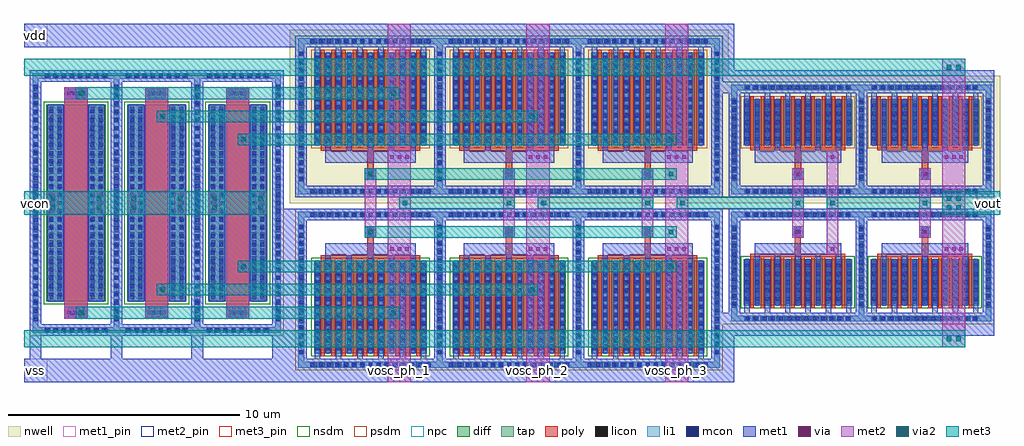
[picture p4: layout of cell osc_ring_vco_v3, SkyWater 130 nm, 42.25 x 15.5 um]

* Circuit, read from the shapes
.subckt osc_ring_vco_v3 vcon vdd vosc_ph_1 vosc_ph_2 vosc_ph_3 vout vss
XM1 vcon vosc_ph_1 vcon vss sky130_fd_pr__nfet_01v8 w=8.5 l=1
XM2 vcon vosc_ph_2 vcon vss sky130_fd_pr__nfet_01v8 w=8.5 l=1
XM3 vcon vosc_ph_3 vcon vss sky130_fd_pr__nfet_01v8 w=8.5 l=1
XM4 vosc_ph_1 vosc_ph_3 vss vss sky130_fd_pr__nfet_01v8 w=4 l=0.17 m=10
XM5 vosc_ph_2 vosc_ph_1 vss vss sky130_fd_pr__nfet_01v8 w=4 l=0.17 m=10
XM6 vosc_ph_3 vosc_ph_2 vss vss sky130_fd_pr__nfet_01v8 w=4 l=0.17 m=10
XM7 sky130_fd_pr__nfet_01v8_osc_ring_vco_v3_buf_2/D0 vosc_ph_3 vss vss sky130_fd_pr__nfet_01v8 w=2 l=0.15 m=10
XM8 vout sky130_fd_pr__nfet_01v8_osc_ring_vco_v3_buf_2/D0 vss vss sky130_fd_pr__nfet_01v8 w=2 l=0.15 m=10
XM9 vosc_ph_1 vosc_ph_3 vdd vdd sky130_fd_pr__pfet_01v8 w=4 l=0.17 m=10
XM10 vosc_ph_2 vosc_ph_1 vdd vdd sky130_fd_pr__pfet_01v8 w=4 l=0.17 m=10
XM11 vosc_ph_3 vosc_ph_2 vdd vdd sky130_fd_pr__pfet_01v8 w=4 l=0.17 m=10
XM12 sky130_fd_pr__nfet_01v8_osc_ring_vco_v3_buf_2/D0 vosc_ph_3 vdd vdd sky130_fd_pr__pfet_01v8 w=2 l=0.15 m=10
XM13 vout sky130_fd_pr__nfet_01v8_osc_ring_vco_v3_buf_2/D0 vdd vdd sky130_fd_pr__pfet_01v8 w=2 l=0.15 m=10
.ends

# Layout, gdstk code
import gdstk
lib = gdstk.Library(unit=1e-6, precision=1e-09)
def R(c, l, rs):  # rectangles x0, y0, x1, y1
    for r in rs: c.add(gdstk.rectangle(r[:2], r[2:], *l))
def A(c, l, x, y, w, h, nx, ny, dx, dy):  # array of equal rectangles
    R(c, l, [(x+i*dx, y+j*dy, x+i*dx+w, y+j*dy+h) for i in range(nx) for j in range(ny)])
nwell = (64, 20)
diff = (65, 20)
tap = (65, 44)
poly = (66, 20)
licon = (66, 44)
li1 = (67, 20)
mcon = (67, 44)
met1_pin = (68, 16)
met1 = (68, 20)
via = (68, 44)
met2_pin = (69, 16)
met2 = (69, 20)
via2 = (69, 44)
met3_pin = (70, 16)
met3 = (70, 20)
nsdm = (93, 44)
psdm = (94, 20)
npc = (95, 20)

sky130_fd_pr__nfet_01v8_ = lib.new_cell('sky130_fd_pr__nfet_01v8_osc_ring_vco_v3_buf')
R(sky130_fd_pr__nfet_01v8_, diff, [(-1.095,-3.175,3.595,-1.175)])
R(sky130_fd_pr__nfet_01v8_, tap, [(-1.625,-3.875,4.125,-3.625), (-1.625,-3.625,-1.375,0.625), (3.875,-3.625,4.125,0.625), (-1.625,0.625,4.125,0.875)])
A(sky130_fd_pr__nfet_01v8_, poly, -0.805, -3.305, 0.15, 2.205, 10, 1, 0.44, 0)
R(sky130_fd_pr__nfet_01v8_, poly, [(-0.805,-1.1,3.305,-0.95), (1.115,-0.95,1.385,0.25)])
A(sky130_fd_pr__nfet_01v8_, licon, -1.045, -3.835, 0.17, 0.17, 14, 2, 0.34, 4.5)
A(sky130_fd_pr__nfet_01v8_, licon, -1.585, -3.285, 0.17, 0.17, 1, 11, 0, 0.34)
A(sky130_fd_pr__nfet_01v8_, licon, 3.915, -3.285, 0.17, 0.17, 1, 11, 0, 0.34)
A(sky130_fd_pr__nfet_01v8_, licon, -1.035, -3.11, 0.17, 0.17, 11, 6, 0.44, 0.34)
R(sky130_fd_pr__nfet_01v8_, licon, [(1.165,-0.085,1.335,0.085)])
A(sky130_fd_pr__nfet_01v8_, li1, -1.035, -3.195, 0.17, 2.04, 11, 1, 0.44, 0)
R(sky130_fd_pr__nfet_01v8_, li1, [(-1.625,-3.875,4.125,-3.625), (-1.625,-3.625,-1.375,0.625), (3.875,-3.625,4.125,0.625), (1.165,-0.25,1.335,0.25), (-1.625,0.625,4.125,0.875)])
A(sky130_fd_pr__nfet_01v8_, mcon, -0.995, -3.835, 0.17, 0.17, 13, 2, 0.36, 4.5)
A(sky130_fd_pr__nfet_01v8_, mcon, -1.585, -3.205, 0.17, 0.17, 1, 10, 0, 0.36)
A(sky130_fd_pr__nfet_01v8_, mcon, 3.915, -3.205, 0.17, 0.17, 1, 10, 0, 0.36)
A(sky130_fd_pr__nfet_01v8_, mcon, -1.035, -2.98, 0.17, 0.17, 11, 5, 0.44, 0.36)
R(sky130_fd_pr__nfet_01v8_, mcon, [(1.165,-0.085,1.335,0.085)])
A(sky130_fd_pr__nfet_01v8_, met1, -1.065, -3.5, 0.23, 2.325, 6, 1, 0.88, 0)
A(sky130_fd_pr__nfet_01v8_, met1, -0.625, -3.175, 0.23, 2.175, 5, 1, 0.88, 0)
R(sky130_fd_pr__nfet_01v8_, met1, [(-1.75,-4,4.25,-3.5), (-1.75,-3.5,-1.25,0.5), (3.75,-3.5,4.25,0.5), (-0.625,-1,3.125,-0.5), (1,-0.25,1.5,0.25), (-1.75,0.5,4.25,1)])
R(sky130_fd_pr__nfet_01v8_, nsdm, [(-1.22,-3.3,3.72,-1.05)])
R(sky130_fd_pr__nfet_01v8_, psdm, [(-1.75,-4,4.25,-3.5), (-1.75,-3.5,-1.25,0.5), (3.75,-3.5,4.25,0.5), (-1.75,0.5,4.25,1)])
R(sky130_fd_pr__nfet_01v8_, npc, [(1.065,-0.185,1.435,0.185)])
sky130_fd_pr__nfet_01v8_.add(gdstk.Label('D0', (-0.51,-2.175), layer=67, texttype=5))
sky130_fd_pr__nfet_01v8_.add(gdstk.Label('S0', (-0.95,-2.175), layer=67, texttype=5))
sky130_fd_pr__nfet_01v8_.add(gdstk.Label('D1', (-0.51,-2.175), layer=67, texttype=5))
sky130_fd_pr__nfet_01v8_.add(gdstk.Label('S1', (-0.07,-2.175), layer=67, texttype=5))
sky130_fd_pr__nfet_01v8_.add(gdstk.Label('D2', (0.37,-2.175), layer=67, texttype=5))
sky130_fd_pr__nfet_01v8_.add(gdstk.Label('S2', (-0.07,-2.175), layer=67, texttype=5))
sky130_fd_pr__nfet_01v8_.add(gdstk.Label('D3', (0.37,-2.175), layer=67, texttype=5))
sky130_fd_pr__nfet_01v8_.add(gdstk.Label('S3', (0.81,-2.175), layer=67, texttype=5))
sky130_fd_pr__nfet_01v8_.add(gdstk.Label('D4', (1.25,-2.175), layer=67, texttype=5))
sky130_fd_pr__nfet_01v8_.add(gdstk.Label('S4', (0.81,-2.175), layer=67, texttype=5))
sky130_fd_pr__nfet_01v8_.add(gdstk.Label('D5', (1.25,-2.175), layer=67, texttype=5))
sky130_fd_pr__nfet_01v8_.add(gdstk.Label('S5', (1.69,-2.175), layer=67, texttype=5))
sky130_fd_pr__nfet_01v8_.add(gdstk.Label('D6', (2.13,-2.175), layer=67, texttype=5))
sky130_fd_pr__nfet_01v8_.add(gdstk.Label('S6', (1.69,-2.175), layer=67, texttype=5))
sky130_fd_pr__nfet_01v8_.add(gdstk.Label('D7', (2.13,-2.175), layer=67, texttype=5))
sky130_fd_pr__nfet_01v8_.add(gdstk.Label('S7', (2.57,-2.175), layer=67, texttype=5))
sky130_fd_pr__nfet_01v8_.add(gdstk.Label('D8', (3.01,-2.175), layer=67, texttype=5))
sky130_fd_pr__nfet_01v8_.add(gdstk.Label('S8', (2.57,-2.175), layer=67, texttype=5))
sky130_fd_pr__nfet_01v8_.add(gdstk.Label('D9', (3.01,-2.175), layer=67, texttype=5))
sky130_fd_pr__nfet_01v8_.add(gdstk.Label('S9', (3.45,-2.175), layer=67, texttype=5))

sky130_fd_pr__pfet_01v8_ = lib.new_cell('sky130_fd_pr__pfet_01v8_osc_ring_vco_v3_buf')
R(sky130_fd_pr__pfet_01v8_, nwell, [(-1.5,-1.75,5,3.75)])
R(sky130_fd_pr__pfet_01v8_, diff, [(-0.595,0.75,4.095,2.75)])
R(sky130_fd_pr__pfet_01v8_, tap, [(-1.125,-1.375,4.625,-1.125), (-1.125,-1.125,-0.875,3.125), (4.375,-1.125,4.625,3.125), (-1.125,3.125,4.625,3.375)])
A(sky130_fd_pr__pfet_01v8_, poly, -0.305, 0.675, 0.15, 2.205, 10, 1, 0.44, 0)
R(sky130_fd_pr__pfet_01v8_, poly, [(1.62,-0.75,1.89,0.525), (-0.305,0.525,3.805,0.675)])
A(sky130_fd_pr__pfet_01v8_, licon, -0.545, -1.335, 0.17, 0.17, 14, 2, 0.34, 4.5)
A(sky130_fd_pr__pfet_01v8_, licon, -1.085, -0.785, 0.17, 0.17, 1, 11, 0, 0.34)
A(sky130_fd_pr__pfet_01v8_, licon, 4.415, -0.785, 0.17, 0.17, 1, 11, 0, 0.34)
A(sky130_fd_pr__pfet_01v8_, licon, -0.535, 0.815, 0.17, 0.17, 11, 6, 0.44, 0.34)
R(sky130_fd_pr__pfet_01v8_, licon, [(1.67,-0.585,1.84,-0.415)])
A(sky130_fd_pr__pfet_01v8_, li1, -0.535, 0.73, 0.17, 2.04, 11, 1, 0.44, 0)
R(sky130_fd_pr__pfet_01v8_, li1, [(-1.125,-1.375,4.625,-1.125), (-1.125,-1.125,-0.875,3.125), (4.375,-1.125,4.625,3.125), (1.67,-0.75,1.84,-0.25), (-1.125,3.125,4.625,3.375)])
A(sky130_fd_pr__pfet_01v8_, mcon, -0.495, -1.335, 0.17, 0.17, 13, 2, 0.36, 4.5)
A(sky130_fd_pr__pfet_01v8_, mcon, -1.085, -0.705, 0.17, 0.17, 1, 10, 0, 0.36)
A(sky130_fd_pr__pfet_01v8_, mcon, 4.415, -0.705, 0.17, 0.17, 1, 10, 0, 0.36)
A(sky130_fd_pr__pfet_01v8_, mcon, -0.535, 0.945, 0.17, 0.17, 11, 5, 0.44, 0.36)
R(sky130_fd_pr__pfet_01v8_, mcon, [(1.67,-0.585,1.84,-0.415)])
A(sky130_fd_pr__pfet_01v8_, met1, -0.125, 0.5, 0.23, 2.25, 5, 1, 0.88, 0)
A(sky130_fd_pr__pfet_01v8_, met1, -0.565, 0.75, 0.23, 2.25, 6, 1, 0.88, 0)
R(sky130_fd_pr__pfet_01v8_, met1, [(-1.25,-1.5,4.75,-1), (-1.25,-1,-0.75,3), (4.25,-1,4.75,3), (1.5,-0.75,2,-0.25), (-0.125,0,3.625,0.5), (-1.25,3,4.75,3.5)])
R(sky130_fd_pr__pfet_01v8_, nsdm, [(-1.25,-1.5,4.75,-1), (-1.25,-1,-0.75,3), (4.25,-1,4.75,3), (-1.25,3,4.75,3.5)])
R(sky130_fd_pr__pfet_01v8_, psdm, [(-0.72,0.625,4.22,2.875)])
R(sky130_fd_pr__pfet_01v8_, npc, [(1.57,-0.685,1.94,-0.315)])
sky130_fd_pr__pfet_01v8_.add(gdstk.Label('D0', (-0.015,1.75), layer=67, texttype=5))
sky130_fd_pr__pfet_01v8_.add(gdstk.Label('S0', (-0.45,1.75), layer=67, texttype=5))
sky130_fd_pr__pfet_01v8_.add(gdstk.Label('D1', (-0.015,1.75), layer=67, texttype=5))
sky130_fd_pr__pfet_01v8_.add(gdstk.Label('S1', (0.43,1.75), layer=67, texttype=5))
sky130_fd_pr__pfet_01v8_.add(gdstk.Label('D2', (0.87,1.75), layer=67, texttype=5))
sky130_fd_pr__pfet_01v8_.add(gdstk.Label('S2', (0.43,1.75), layer=67, texttype=5))
sky130_fd_pr__pfet_01v8_.add(gdstk.Label('D3', (0.87,1.75), layer=67, texttype=5))
sky130_fd_pr__pfet_01v8_.add(gdstk.Label('S3', (1.31,1.75), layer=67, texttype=5))
sky130_fd_pr__pfet_01v8_.add(gdstk.Label('D4', (1.75,1.75), layer=67, texttype=5))
sky130_fd_pr__pfet_01v8_.add(gdstk.Label('S4', (1.31,1.75), layer=67, texttype=5))
sky130_fd_pr__pfet_01v8_.add(gdstk.Label('D5', (1.75,1.75), layer=67, texttype=5))
sky130_fd_pr__pfet_01v8_.add(gdstk.Label('S5', (2.19,1.75), layer=67, texttype=5))
sky130_fd_pr__pfet_01v8_.add(gdstk.Label('D6', (2.63,1.75), layer=67, texttype=5))
sky130_fd_pr__pfet_01v8_.add(gdstk.Label('S6', (2.19,1.75), layer=67, texttype=5))
sky130_fd_pr__pfet_01v8_.add(gdstk.Label('D7', (2.63,1.75), layer=67, texttype=5))
sky130_fd_pr__pfet_01v8_.add(gdstk.Label('S7', (3.07,1.75), layer=67, texttype=5))
sky130_fd_pr__pfet_01v8_.add(gdstk.Label('D8', (3.51,1.75), layer=67, texttype=5))
sky130_fd_pr__pfet_01v8_.add(gdstk.Label('S8', (3.07,1.75), layer=67, texttype=5))
sky130_fd_pr__pfet_01v8_.add(gdstk.Label('D9', (3.51,1.75), layer=67, texttype=5))
sky130_fd_pr__pfet_01v8_.add(gdstk.Label('S9', (3.95,1.75), layer=67, texttype=5))

c_sky130_fd_pr__nfet_01v8_ = lib.new_cell('sky130_fd_pr__nfet_01v8_osc_ring_vco_v2_varactor')
R(c_sky130_fd_pr__nfet_01v8_, diff, [(-1.26,-4.3,1.3,4.2)])
R(c_sky130_fd_pr__nfet_01v8_, tap, [(-1.855,-5.675,1.895,-5.425), (-1.855,-5.425,-1.605,5.325), (1.645,-5.425,1.895,5.325), (-1.855,5.325,1.895,5.575)])
R(c_sky130_fd_pr__nfet_01v8_, poly, [(-0.48,-5.05,0.52,4.95)])
A(c_sky130_fd_pr__nfet_01v8_, licon, -1.255, -5.635, 0.17, 0.17, 8, 2, 0.34, 11)
A(c_sky130_fd_pr__nfet_01v8_, licon, -1.815, -5.065, 0.17, 0.17, 1, 30, 0, 0.34)
A(c_sky130_fd_pr__nfet_01v8_, licon, 1.685, -5.065, 0.17, 0.17, 1, 30, 0, 0.34)
A(c_sky130_fd_pr__nfet_01v8_, licon, -1.125, -4.215, 0.17, 0.17, 1, 25, 0, 0.34)
A(c_sky130_fd_pr__nfet_01v8_, licon, -0.785, -4.215, 0.17, 0.17, 1, 25, 0, 0.34)
A(c_sky130_fd_pr__nfet_01v8_, licon, 0.655, -4.215, 0.17, 0.17, 1, 25, 0, 0.34)
A(c_sky130_fd_pr__nfet_01v8_, licon, 0.995, -4.215, 0.17, 0.17, 1, 25, 0, 0.34)
R(c_sky130_fd_pr__nfet_01v8_, licon, [(-0.235,-4.885,-0.065,-4.715), (0.105,-4.885,0.275,-4.715), (-0.235,4.615,-0.065,4.785), (0.105,4.615,0.275,4.785)])
R(c_sky130_fd_pr__nfet_01v8_, li1, [(-1.855,-5.675,1.895,-5.425), (-1.855,-5.425,-1.605,5.325), (1.645,-5.425,1.895,5.325), (-0.315,-5.05,0.355,-4.55), (-1.2,-4.32,-0.54,4.22), (0.58,-4.32,1.24,4.22), (-0.315,4.45,0.355,4.95), (-1.855,5.325,1.895,5.575)])
A(c_sky130_fd_pr__nfet_01v8_, mcon, -1.325, -5.635, 0.17, 0.17, 8, 2, 0.36, 11)
A(c_sky130_fd_pr__nfet_01v8_, mcon, -1.815, -5.175, 0.17, 0.17, 1, 29, 0, 0.36)
A(c_sky130_fd_pr__nfet_01v8_, mcon, 1.685, -5.175, 0.17, 0.17, 1, 29, 0, 0.36)
A(c_sky130_fd_pr__nfet_01v8_, mcon, -1.135, -4.095, 0.17, 0.17, 1, 23, 0, 0.36)
A(c_sky130_fd_pr__nfet_01v8_, mcon, -0.775, -4.095, 0.17, 0.17, 1, 23, 0, 0.36)
A(c_sky130_fd_pr__nfet_01v8_, mcon, 0.645, -4.095, 0.17, 0.17, 1, 23, 0, 0.36)
A(c_sky130_fd_pr__nfet_01v8_, mcon, 1.005, -4.095, 0.17, 0.17, 1, 23, 0, 0.36)
R(c_sky130_fd_pr__nfet_01v8_, mcon, [(-0.245,-4.885,-0.075,-4.715), (0.115,-4.885,0.285,-4.715), (-0.245,4.615,-0.075,4.785), (0.115,4.615,0.285,4.785)])
R(c_sky130_fd_pr__nfet_01v8_, met1, [(-1.98,-5.8,2.02,-5.3), (-1.98,-5.3,-1.48,5.2), (1.52,-5.3,2.02,5.2), (-0.48,-5.05,0.52,-4.55), (-1.23,-4.3,-0.51,4.2), (0.55,-4.3,1.27,4.2), (-0.48,4.45,0.52,4.95), (-1.98,5.2,2.02,5.7)])
R(c_sky130_fd_pr__nfet_01v8_, nsdm, [(-1.385,-4.425,1.425,4.325)])
R(c_sky130_fd_pr__nfet_01v8_, psdm, [(-1.98,-5.8,2.02,-5.3), (-1.98,-5.3,-1.48,5.2), (1.52,-5.3,2.02,5.2), (-1.98,5.2,2.02,5.7)])
R(c_sky130_fd_pr__nfet_01v8_, npc, [(-0.335,-4.985,0.375,-4.615), (-0.335,4.515,0.375,4.885)])
c_sky130_fd_pr__nfet_01v8_.add(gdstk.Label('D', (-0.625,-0.05), layer=67, texttype=5))
c_sky130_fd_pr__nfet_01v8_.add(gdstk.Label('S', (0.665,-0.05), layer=67, texttype=5))

c_sky130_fd_pr__nfet_01v8__ = lib.new_cell('sky130_fd_pr__nfet_01v8_osc_ring_vco_v2_inv')
R(c_sky130_fd_pr__nfet_01v8__, diff, [(-2.1,-26.455,2.79,-22.455)])
R(c_sky130_fd_pr__nfet_01v8__, tap, [(-2.78,-27.08,3.47,-26.83), (-2.78,-26.83,-2.53,-20.58), (3.22,-26.83,3.47,-20.58), (-2.78,-20.58,3.47,-20.33)])
A(c_sky130_fd_pr__nfet_01v8__, poly, -1.81, -26.585, 0.17, 4.205, 10, 1, 0.46, 0)
R(c_sky130_fd_pr__nfet_01v8__, poly, [(-1.81,-22.38,2.5,-22.21), (0.21,-22.21,0.48,-20.955)])
A(c_sky130_fd_pr__nfet_01v8__, licon, -2.12, -27.04, 0.17, 0.17, 15, 2, 0.34, 6.5)
A(c_sky130_fd_pr__nfet_01v8__, licon, -2.74, -26.51, 0.17, 0.17, 1, 17, 0, 0.34)
A(c_sky130_fd_pr__nfet_01v8__, licon, 3.26, -26.51, 0.17, 0.17, 1, 17, 0, 0.34)
A(c_sky130_fd_pr__nfet_01v8__, licon, -2.04, -26.24, 0.17, 0.17, 11, 11, 0.46, 0.34)
R(c_sky130_fd_pr__nfet_01v8__, licon, [(0.26,-21.29,0.43,-21.12)])
A(c_sky130_fd_pr__nfet_01v8__, li1, -2.04, -26.475, 0.17, 4.04, 11, 1, 0.46, 0)
R(c_sky130_fd_pr__nfet_01v8__, li1, [(-2.78,-27.08,3.47,-26.83), (-2.78,-26.83,-2.53,-20.58), (3.22,-26.83,3.47,-20.58), (0.26,-21.455,0.43,-20.955), (-2.78,-20.58,3.47,-20.33)])
A(c_sky130_fd_pr__nfet_01v8__, mcon, -2.26, -27.04, 0.17, 0.17, 15, 2, 0.36, 6.5)
A(c_sky130_fd_pr__nfet_01v8__, mcon, -2.74, -26.49, 0.17, 0.17, 1, 16, 0, 0.36)
A(c_sky130_fd_pr__nfet_01v8__, mcon, 3.26, -26.49, 0.17, 0.17, 1, 16, 0, 0.36)
A(c_sky130_fd_pr__nfet_01v8__, mcon, -2.04, -26.34, 0.17, 0.17, 11, 11, 0.46, 0.36)
R(c_sky130_fd_pr__nfet_01v8__, mcon, [(0.26,-21.29,0.43,-21.12)])
A(c_sky130_fd_pr__nfet_01v8__, met1, -2.07, -26.705, 0.23, 4.25, 6, 1, 0.92, 0)
A(c_sky130_fd_pr__nfet_01v8__, met1, -1.61, -26.455, 0.23, 4.25, 5, 1, 0.92, 0)
R(c_sky130_fd_pr__nfet_01v8__, met1, [(-2.905,-27.205,3.595,-26.705), (-2.905,-26.705,-2.405,-20.705), (3.095,-26.705,3.595,-20.705), (-1.61,-22.205,2.3,-21.705), (0.095,-21.455,0.595,-20.955), (-2.905,-20.705,3.595,-20.205)])
R(c_sky130_fd_pr__nfet_01v8__, nsdm, [(-2.225,-26.58,2.915,-22.33)])
R(c_sky130_fd_pr__nfet_01v8__, psdm, [(-2.905,-27.205,3.595,-26.705), (-2.905,-26.705,-2.405,-20.705), (3.095,-26.705,3.595,-20.705), (-2.905,-20.705,3.595,-20.205)])
R(c_sky130_fd_pr__nfet_01v8__, npc, [(0.16,-21.39,0.53,-21.02)])
c_sky130_fd_pr__nfet_01v8__.add(gdstk.Label('D0', (-1.495,-24.455), layer=67, texttype=5))
c_sky130_fd_pr__nfet_01v8__.add(gdstk.Label('S0', (-1.955,-24.455), layer=67, texttype=5))
c_sky130_fd_pr__nfet_01v8__.add(gdstk.Label('D1', (-1.495,-24.455), layer=67, texttype=5))
c_sky130_fd_pr__nfet_01v8__.add(gdstk.Label('S1', (-1.035,-24.455), layer=67, texttype=5))
c_sky130_fd_pr__nfet_01v8__.add(gdstk.Label('D2', (-0.575,-24.455), layer=67, texttype=5))
c_sky130_fd_pr__nfet_01v8__.add(gdstk.Label('S2', (-1.035,-24.455), layer=67, texttype=5))
c_sky130_fd_pr__nfet_01v8__.add(gdstk.Label('D3', (-0.575,-24.455), layer=67, texttype=5))
c_sky130_fd_pr__nfet_01v8__.add(gdstk.Label('S3', (-0.115,-24.455), layer=67, texttype=5))
c_sky130_fd_pr__nfet_01v8__.add(gdstk.Label('D4', (0.345,-24.455), layer=67, texttype=5))
c_sky130_fd_pr__nfet_01v8__.add(gdstk.Label('S4', (-0.115,-24.455), layer=67, texttype=5))
c_sky130_fd_pr__nfet_01v8__.add(gdstk.Label('D5', (0.345,-24.455), layer=67, texttype=5))
c_sky130_fd_pr__nfet_01v8__.add(gdstk.Label('S5', (0.805,-24.455), layer=67, texttype=5))
c_sky130_fd_pr__nfet_01v8__.add(gdstk.Label('D6', (1.265,-24.455), layer=67, texttype=5))
c_sky130_fd_pr__nfet_01v8__.add(gdstk.Label('S6', (0.805,-24.455), layer=67, texttype=5))
c_sky130_fd_pr__nfet_01v8__.add(gdstk.Label('D7', (1.265,-24.455), layer=67, texttype=5))
c_sky130_fd_pr__nfet_01v8__.add(gdstk.Label('S7', (1.725,-24.455), layer=67, texttype=5))
c_sky130_fd_pr__nfet_01v8__.add(gdstk.Label('D8', (2.185,-24.455), layer=67, texttype=5))
c_sky130_fd_pr__nfet_01v8__.add(gdstk.Label('S8', (1.725,-24.455), layer=67, texttype=5))
c_sky130_fd_pr__nfet_01v8__.add(gdstk.Label('D9', (2.185,-24.455), layer=67, texttype=5))
c_sky130_fd_pr__nfet_01v8__.add(gdstk.Label('S9', (2.645,-24.455), layer=67, texttype=5))

c_sky130_fd_pr__pfet_01v8_ = lib.new_cell('sky130_fd_pr__pfet_01v8_osc_ring_vco_v2_inv')
R(c_sky130_fd_pr__pfet_01v8_, nwell, [(-1.46,-27.805,5.54,-20.305)])
R(c_sky130_fd_pr__pfet_01v8_, diff, [(-0.405,-25.305,4.485,-21.305)])
R(c_sky130_fd_pr__pfet_01v8_, tap, [(-1.085,-27.43,5.165,-27.18), (-1.085,-27.18,-0.835,-20.93), (4.915,-27.18,5.165,-20.93), (-1.085,-20.93,5.165,-20.68)])
A(c_sky130_fd_pr__pfet_01v8_, poly, -0.115, -25.38, 0.17, 4.205, 10, 1, 0.46, 0)
R(c_sky130_fd_pr__pfet_01v8_, poly, [(1.905,-26.805,2.175,-25.55), (-0.115,-25.55,4.195,-25.38)])
A(c_sky130_fd_pr__pfet_01v8_, licon, -0.425, -27.39, 0.17, 0.17, 15, 2, 0.34, 6.5)
A(c_sky130_fd_pr__pfet_01v8_, licon, -1.045, -26.86, 0.17, 0.17, 1, 17, 0, 0.34)
A(c_sky130_fd_pr__pfet_01v8_, licon, 4.955, -26.86, 0.17, 0.17, 1, 17, 0, 0.34)
A(c_sky130_fd_pr__pfet_01v8_, licon, -0.345, -25.09, 0.17, 0.17, 11, 11, 0.46, 0.34)
R(c_sky130_fd_pr__pfet_01v8_, licon, [(1.955,-26.64,2.125,-26.47)])
A(c_sky130_fd_pr__pfet_01v8_, li1, -0.345, -25.325, 0.17, 4.04, 11, 1, 0.46, 0)
R(c_sky130_fd_pr__pfet_01v8_, li1, [(-1.085,-27.43,5.165,-27.18), (-1.085,-27.18,-0.835,-20.93), (4.915,-27.18,5.165,-20.93), (1.955,-26.805,2.125,-26.305), (-1.085,-20.93,5.165,-20.68)])
A(c_sky130_fd_pr__pfet_01v8_, mcon, -0.565, -27.39, 0.17, 0.17, 15, 2, 0.36, 6.5)
A(c_sky130_fd_pr__pfet_01v8_, mcon, -1.045, -26.84, 0.17, 0.17, 1, 16, 0, 0.36)
A(c_sky130_fd_pr__pfet_01v8_, mcon, 4.955, -26.84, 0.17, 0.17, 1, 16, 0, 0.36)
A(c_sky130_fd_pr__pfet_01v8_, mcon, -0.345, -25.19, 0.17, 0.17, 11, 11, 0.46, 0.36)
R(c_sky130_fd_pr__pfet_01v8_, mcon, [(1.955,-26.64,2.125,-26.47)])
A(c_sky130_fd_pr__pfet_01v8_, met1, 0.085, -25.555, 0.23, 4.25, 5, 1, 0.92, 0)
A(c_sky130_fd_pr__pfet_01v8_, met1, -0.375, -25.305, 0.23, 4.25, 6, 1, 0.92, 0)
R(c_sky130_fd_pr__pfet_01v8_, met1, [(-1.21,-27.555,5.29,-27.055), (-1.21,-27.055,-0.71,-21.055), (4.79,-27.055,5.29,-21.055), (1.79,-26.805,2.29,-26.305), (0.085,-26.055,3.995,-25.555), (-1.21,-21.055,5.29,-20.555)])
R(c_sky130_fd_pr__pfet_01v8_, nsdm, [(-1.21,-27.555,5.29,-27.055), (-1.21,-27.055,-0.71,-21.055), (4.79,-27.055,5.29,-21.055), (-1.21,-21.055,5.29,-20.555)])
R(c_sky130_fd_pr__pfet_01v8_, psdm, [(-0.53,-25.43,4.61,-21.18)])
R(c_sky130_fd_pr__pfet_01v8_, npc, [(1.855,-26.74,2.225,-26.37)])
c_sky130_fd_pr__pfet_01v8_.add(gdstk.Label('D0', (0.2,-23.305), layer=67, texttype=5))
c_sky130_fd_pr__pfet_01v8_.add(gdstk.Label('S0', (-0.26,-23.305), layer=67, texttype=5))
c_sky130_fd_pr__pfet_01v8_.add(gdstk.Label('D1', (0.2,-23.305), layer=67, texttype=5))
c_sky130_fd_pr__pfet_01v8_.add(gdstk.Label('S1', (0.66,-23.305), layer=67, texttype=5))
c_sky130_fd_pr__pfet_01v8_.add(gdstk.Label('D2', (1.12,-23.305), layer=67, texttype=5))
c_sky130_fd_pr__pfet_01v8_.add(gdstk.Label('S2', (0.66,-23.305), layer=67, texttype=5))
c_sky130_fd_pr__pfet_01v8_.add(gdstk.Label('D3', (1.12,-23.305), layer=67, texttype=5))
c_sky130_fd_pr__pfet_01v8_.add(gdstk.Label('S3', (1.58,-23.305), layer=67, texttype=5))
c_sky130_fd_pr__pfet_01v8_.add(gdstk.Label('D4', (2.04,-23.305), layer=67, texttype=5))
c_sky130_fd_pr__pfet_01v8_.add(gdstk.Label('S4', (1.58,-23.305), layer=67, texttype=5))
c_sky130_fd_pr__pfet_01v8_.add(gdstk.Label('D5', (2.04,-23.305), layer=67, texttype=5))
c_sky130_fd_pr__pfet_01v8_.add(gdstk.Label('S5', (2.5,-23.305), layer=67, texttype=5))
c_sky130_fd_pr__pfet_01v8_.add(gdstk.Label('D6', (2.96,-23.305), layer=67, texttype=5))
c_sky130_fd_pr__pfet_01v8_.add(gdstk.Label('S6', (2.5,-23.305), layer=67, texttype=5))
c_sky130_fd_pr__pfet_01v8_.add(gdstk.Label('D7', (2.96,-23.305), layer=67, texttype=5))
c_sky130_fd_pr__pfet_01v8_.add(gdstk.Label('S7', (3.42,-23.305), layer=67, texttype=5))
c_sky130_fd_pr__pfet_01v8_.add(gdstk.Label('D8', (3.88,-23.305), layer=67, texttype=5))
c_sky130_fd_pr__pfet_01v8_.add(gdstk.Label('S8', (3.42,-23.305), layer=67, texttype=5))
c_sky130_fd_pr__pfet_01v8_.add(gdstk.Label('D9', (3.88,-23.305), layer=67, texttype=5))
c_sky130_fd_pr__pfet_01v8_.add(gdstk.Label('S9', (4.34,-23.305), layer=67, texttype=5))

osc_ring_vco_v3 = lib.new_cell('osc_ring_vco_v3')
R(osc_ring_vco_v3, met1_pin, [(-9,-12.25,-8,-11.25), (-9,2.25,-8,3.25)])
A(osc_ring_vco_v3, met1, -8.75, -11.25, 0.5, 1, 3, 1, 3.5, 0)
A(osc_ring_vco_v3, met1, -7.25, -9.5, 1, 0.5, 3, 2, 3.5, 9.5)
A(osc_ring_vco_v3, met1, 6.75, -6.75, 1, 0.5, 3, 2, 6, 4)
A(osc_ring_vco_v3, met1, 5.75, -6, 0.5, 0.5, 3, 2, 6, 2.5)
R(osc_ring_vco_v3, met1, [(-9,-12.25,21.75,-11.25), (1.75,-11.25,3.25,-4.75), (20.75,-11.25,21.75,-10.25), (20.75,-10.25,33,-9.25), (25.75,-6.75,26.25,-6.25), (30.75,-6.75,31.75,-6.25), (24.25,-6,24.75,-5.5), (29.75,-6,30.25,-5.5), (-8,-5,-7.5,-4), (-6,-5,-5.5,-4), (-4.5,-5,-4,-4), (-2.5,-5,-2,-4), (-1,-5,-0.5,-4), (1,-5,1.5,-4), (24.25,-3.5,24.75,-3), (29.75,-3.5,30.25,-3), (25.75,-2.75,26.25,-2.25), (30.75,-2.75,31.75,-2.25), (20.75,0.25,33,1.25), (20.75,1.25,21.75,2.25), (-9,2.25,21.75,3.25)])
A(osc_ring_vco_v3, via, -7.145, -9.325, 0.15, 0.15, 3, 2, 0.32, 9.5)
A(osc_ring_vco_v3, via, -3.645, -9.325, 0.15, 0.15, 3, 2, 0.32, 9.5)
A(osc_ring_vco_v3, via, -0.145, -9.325, 0.15, 0.15, 3, 2, 0.32, 9.5)
A(osc_ring_vco_v3, via, 6.855, -6.575, 0.15, 0.15, 3, 2, 0.32, 4)
A(osc_ring_vco_v3, via, 12.855, -6.575, 0.15, 0.15, 3, 2, 0.32, 4)
A(osc_ring_vco_v3, via, 18.855, -6.575, 0.15, 0.15, 3, 2, 0.32, 4)
A(osc_ring_vco_v3, via, 30.855, -6.575, 0.15, 0.15, 3, 2, 0.32, 4)
A(osc_ring_vco_v3, via, 5.925, -5.825, 0.15, 0.15, 3, 2, 6, 2.5)
A(osc_ring_vco_v3, via, -7.825, -4.895, 0.15, 0.15, 1, 3, 0, 0.32)
A(osc_ring_vco_v3, via, -5.825, -4.895, 0.15, 0.15, 1, 3, 0, 0.32)
A(osc_ring_vco_v3, via, -4.325, -4.895, 0.15, 0.15, 1, 3, 0, 0.32)
A(osc_ring_vco_v3, via, -2.325, -4.895, 0.15, 0.15, 1, 3, 0, 0.32)
A(osc_ring_vco_v3, via, -0.825, -4.895, 0.15, 0.15, 1, 3, 0, 0.32)
A(osc_ring_vco_v3, via, 1.175, -4.895, 0.15, 0.15, 1, 3, 0, 0.32)
R(osc_ring_vco_v3, via, [(25.925,-6.575,26.075,-6.425), (24.425,-5.825,24.575,-5.675), (29.925,-5.825,30.075,-5.675), (24.425,-3.325,24.575,-3.175), (29.925,-3.325,30.075,-3.175), (25.925,-2.575,26.075,-2.425)])
A(osc_ring_vco_v3, met2_pin, 6.75, -12.25, 1, 1, 3, 1, 6, 0)
A(osc_ring_vco_v3, met2, 6.75, -12.25, 1, 15.5, 3, 1, 6, 0)
A(osc_ring_vco_v3, met2, -7.25, -9.5, 1, 10, 3, 1, 3.5, 0)
A(osc_ring_vco_v3, met2, 5.75, -6, 0.5, 3, 3, 1, 6, 0)
R(osc_ring_vco_v3, met2, [(30.75,-10.75,31.75,1.75), (25.75,-6.75,26.25,-2.25), (24.25,-6,24.75,-3), (29.75,-6,30.25,-3), (-8,-5,-7.5,-4), (-6,-5,-5.5,-4), (-4.5,-5,-4,-4), (-2.5,-5,-2,-4), (-1,-5,-0.5,-4), (1,-5,1.5,-4)])
R(osc_ring_vco_v3, via2, [(30.95,-10.475,31.15,-10.275), (31.35,-10.475,31.55,-10.275), (-6.6,-9.35,-6.4,-9.15), (6.9,-9.35,7.1,-9.15), (-3.1,-8.35,-2.9,-8.15), (12.9,-8.35,13.1,-8.15), (0.4,-7.35,0.6,-7.15), (18.9,-7.35,19.1,-7.15), (5.9,-5.85,6.1,-5.65), (18.9,-5.85,19.1,-5.65), (-7.85,-4.8,-7.65,-4.6), (-5.85,-4.8,-5.65,-4.6), (-4.35,-4.8,-4.15,-4.6), (-2.35,-4.8,-2.15,-4.6), (-0.85,-4.8,-0.65,-4.6), (1.15,-4.8,1.35,-4.6), (30.95,-4.8,31.15,-4.6), (31.35,-4.8,31.55,-4.6), (7.4,-4.6,7.6,-4.4), (11.9,-4.6,12.1,-4.4), (13.4,-4.6,13.6,-4.4), (17.9,-4.6,18.1,-4.4), (19.4,-4.6,19.6,-4.4), (24.4,-4.6,24.6,-4.4), (25.9,-4.6,26.1,-4.4), (29.9,-4.6,30.1,-4.4), (-7.85,-4.4,-7.65,-4.2), (-5.85,-4.4,-5.65,-4.2), (-4.35,-4.4,-4.15,-4.2), (-2.35,-4.4,-2.15,-4.2), (-0.85,-4.4,-0.65,-4.2), (1.15,-4.4,1.35,-4.2), (30.95,-4.4,31.15,-4.2), (31.35,-4.4,31.55,-4.2), (5.9,-3.35,6.1,-3.15), (18.9,-3.35,19.1,-3.15), (0.4,-1.85,0.6,-1.65), (18.9,-1.85,19.1,-1.65), (-3.1,-0.85,-2.9,-0.65), (12.9,-0.85,13.1,-0.65), (-6.6,0.15,-6.4,0.35), (6.9,0.15,7.1,0.35), (30.95,1.275,31.15,1.475), (31.35,1.275,31.55,1.475)])
R(osc_ring_vco_v3, met3_pin, [(-9,-5,-8,-4), (32.25,-5,33.25,-4)])
R(osc_ring_vco_v3, met3, [(-9,-10.75,31.75,-10), (-6.75,-9.5,7.25,-9), (-3.25,-8.5,13.25,-8), (0.25,-7.5,19.25,-7), (5.75,-6,19.25,-5.5), (-9,-5,1.5,-4), (30.75,-5,33.25,-4), (7.25,-4.75,12.25,-4.25), (13.25,-4.75,18.25,-4.25), (19.25,-4.75,24.75,-4.25), (25.75,-4.75,30.25,-4.25), (5.75,-3.5,19.25,-3), (0.25,-2,19.25,-1.5), (-3.25,-1,13.25,-0.5), (-6.75,0,7.25,0.5), (-9,1,31.75,1.75)])
R(osc_ring_vco_v3, nsdm, [(21.25,-4.25,21.5,0.75)])
R(osc_ring_vco_v3, psdm, [(21.25,-9.75,21.5,-4.75)])
osc_ring_vco_v3.add(gdstk.Reference(sky130_fd_pr__nfet_01v8_, (28.75,-5.75)))
osc_ring_vco_v3.add(gdstk.Reference(sky130_fd_pr__pfet_01v8_, (28.25,-2.75)))
osc_ring_vco_v3.add(gdstk.Reference(sky130_fd_pr__nfet_01v8_, (23.25,-5.75)))
osc_ring_vco_v3.add(gdstk.Reference(sky130_fd_pr__pfet_01v8_, (22.75,-2.75)))
osc_ring_vco_v3.add(gdstk.Reference(c_sky130_fd_pr__nfet_01v8_, (0.23,-4.45)))
osc_ring_vco_v3.add(gdstk.Reference(c_sky130_fd_pr__nfet_01v8_, (-3.27,-4.45)))
osc_ring_vco_v3.add(gdstk.Reference(c_sky130_fd_pr__nfet_01v8_, (-6.77,-4.45)))
osc_ring_vco_v3.add(gdstk.Reference(c_sky130_fd_pr__nfet_01v8__, (17.655,15.455)))
osc_ring_vco_v3.add(gdstk.Reference(c_sky130_fd_pr__pfet_01v8_, (15.96,23.305)))
osc_ring_vco_v3.add(gdstk.Reference(c_sky130_fd_pr__nfet_01v8__, (11.655,15.455)))
osc_ring_vco_v3.add(gdstk.Reference(c_sky130_fd_pr__pfet_01v8_, (9.96,23.305)))
osc_ring_vco_v3.add(gdstk.Reference(c_sky130_fd_pr__nfet_01v8__, (5.655,15.455)))
osc_ring_vco_v3.add(gdstk.Reference(c_sky130_fd_pr__pfet_01v8_, (3.96,23.305)))
osc_ring_vco_v3.add(gdstk.Label('vcon', (-8.5,-4.5), layer=70, texttype=5))
osc_ring_vco_v3.add(gdstk.Label('vdd', (-8.5,2.75), layer=68, texttype=5))
osc_ring_vco_v3.add(gdstk.Label('vss', (-8.5,-11.75), layer=68, texttype=5))
osc_ring_vco_v3.add(gdstk.Label('vosc_ph_1', (7.25,-11.75), layer=69, texttype=5))
osc_ring_vco_v3.add(gdstk.Label('vosc_ph_2', (13.25,-11.75), layer=69, texttype=5))
osc_ring_vco_v3.add(gdstk.Label('vosc_ph_3', (19.25,-11.75), layer=69, texttype=5))
osc_ring_vco_v3.add(gdstk.Label('vout', (32.75,-4.5), layer=70, texttype=5))

lib.write_gds('osc_ring_vco_v3.gds')
